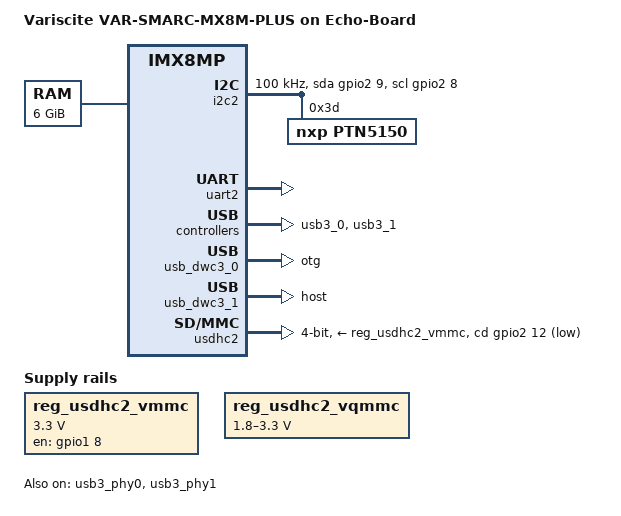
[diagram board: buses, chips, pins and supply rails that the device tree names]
// SPDX-License-Identifier: (GPL-2.0+ OR MIT)
/*
 * Copyright 2019 NXP
 * Copyright 2026 Variscite Ltd.
 */

#include "imx8mp-var-smarc.dtsi"

/ {
	model = "Variscite VAR-SMARC-MX8M-PLUS on Echo-Board";

	chosen {
		stdout-path = &uart2;
	};

	memory@40000000 {
		device_type = "memory";
		reg = <0x0 0x40000000 0 0xc0000000>,
		      <0x1 0x00000000 0 0xc0000000>;
	};

	reg_usdhc2_vmmc: regulator-usdhc2-vmmc {
		compatible = "regulator-fixed";
		pinctrl-names = "default";
		pinctrl-0 = <&pinctrl_reg_usdhc2_vmmc>;
		regulator-name = "VSD_3V3";
		regulator-min-microvolt = <3300000>;
		regulator-max-microvolt = <3300000>;
		gpio = <&gpio1 8 GPIO_ACTIVE_HIGH>;
		enable-active-high;
		startup-delay-us = <100>;
		off-on-delay-us = <12000>;
	};

	reg_usdhc2_vqmmc: regulator-usdhc2-vqmmc {
		compatible = "regulator-gpio";
		pinctrl-names = "default";
		pinctrl-0 = <&pinctrl_reg_usdhc2_vqmmc>;
		regulator-name = "VSD_VSEL";
		regulator-min-microvolt = <1800000>;
		regulator-max-microvolt = <3300000>;
		gpios = <&gpio1 4 GPIO_ACTIVE_HIGH>;
		states = <3300000 0
			  1800000 1>;
	};
};

&i2c2 {
	clock-frequency = <100000>;
	pinctrl-names = "default", "gpio";
	pinctrl-0 = <&pinctrl_i2c2>;
	pinctrl-1 = <&pinctrl_i2c2_gpio>;
	scl-gpios = <&gpio2 8 GPIO_ACTIVE_HIGH>;
	sda-gpios = <&gpio2 9 GPIO_ACTIVE_HIGH>;
	status = "okay";

	/* USB Type-C Controller */
	ptn5150: ptn5150@3d {
		compatible = "nxp,ptn5150";
		pinctrl-names = "default";
		reg = <0x3d>;
		i2c-bus = <0x1>;
		status = "okay";
	};
};

&iomuxc {

	pinctrl_i2c2: i2c2grp {
		fsl,pins = <
			MX8MP_IOMUXC_SD1_DATA6__I2C2_SCL				0x400001c2
			MX8MP_IOMUXC_SD1_DATA7__I2C2_SDA				0x400001c2
		>;
	};

	pinctrl_i2c2_gpio: i2c2gpiogrp {
		fsl,pins = <
			MX8MP_IOMUXC_SD1_DATA6__GPIO2_IO08				0x1c2
			MX8MP_IOMUXC_SD1_DATA7__GPIO2_IO09 				0x1c2
		>;
	};

	pinctrl_reg_usdhc2_vmmc: usdhc2-vmmcreggrp {
		fsl,pins = <
			MX8MP_IOMUXC_GPIO1_IO08__GPIO1_IO08				0x10
		>;
	};

	pinctrl_reg_usdhc2_vqmmc: usdhc2-vqmmcreggrp {
		fsl,pins = <
			MX8MP_IOMUXC_GPIO1_IO04__GPIO1_IO04				0xc0
		>;
	};

	pinctrl_uart2: uart2grp {
		fsl,pins = <
			MX8MP_IOMUXC_UART2_RXD__UART2_DCE_RX				0x40
			MX8MP_IOMUXC_UART2_TXD__UART2_DCE_TX				0x40
		>;
	};

	pinctrl_usdhc2: usdhc2grp {
		fsl,pins = <
			MX8MP_IOMUXC_SD2_CLK__USDHC2_CLK				0x190
			MX8MP_IOMUXC_SD2_CMD__USDHC2_CMD				0x1d0
			MX8MP_IOMUXC_SD2_DATA0__USDHC2_DATA0				0x1d0
			MX8MP_IOMUXC_SD2_DATA1__USDHC2_DATA1				0x1d0
			MX8MP_IOMUXC_SD2_DATA2__USDHC2_DATA2				0x1d0
			MX8MP_IOMUXC_SD2_DATA3__USDHC2_DATA3				0x1d0
		>;
	};

	pinctrl_usdhc2_100mhz: usdhc2-100mhzgrp {
		fsl,pins = <
			MX8MP_IOMUXC_SD2_CLK__USDHC2_CLK				0x194
			MX8MP_IOMUXC_SD2_CMD__USDHC2_CMD				0x1d4
			MX8MP_IOMUXC_SD2_DATA0__USDHC2_DATA0				0x1d4
			MX8MP_IOMUXC_SD2_DATA1__USDHC2_DATA1				0x1d4
			MX8MP_IOMUXC_SD2_DATA2__USDHC2_DATA2				0x1d4
			MX8MP_IOMUXC_SD2_DATA3__USDHC2_DATA3				0x1d4
		>;
	};

	pinctrl_usdhc2_200mhz: usdhc2-200mhzgrp {
		fsl,pins = <
			MX8MP_IOMUXC_SD2_CLK__USDHC2_CLK				0x196
			MX8MP_IOMUXC_SD2_CMD__USDHC2_CMD				0x1d6
			MX8MP_IOMUXC_SD2_DATA0__USDHC2_DATA0				0x1d6
			MX8MP_IOMUXC_SD2_DATA1__USDHC2_DATA1				0x1d6
			MX8MP_IOMUXC_SD2_DATA2__USDHC2_DATA2				0x1d6
			MX8MP_IOMUXC_SD2_DATA3__USDHC2_DATA3				0x1d6
		>;
	};

	pinctrl_usdhc2_gpio: usdhc2-gpiogrp {
		fsl,pins = <
			MX8MP_IOMUXC_GPIO1_IO14__GPIO1_IO14				0x1c4
		>;
	};
};

&uart2 {
	pinctrl-names = "default";
	pinctrl-0 = <&pinctrl_uart2>;
	status = "okay";
};

&usb3_phy0 {
	fsl,phy-tx-vref-tune = <0xe>;
	fsl,phy-tx-preemp-amp-tune = <3>;
	fsl,phy-tx-vboost-level = <5>;
	fsl,phy-comp-dis-tune = <7>;
	fsl,pcs-tx-deemph-3p5db = <0x21>;
	fsl,phy-pcs-tx-swing-full = <0x7f>;
	status = "okay";
};

&usb3_0 {
	status = "okay";
};

&usb_dwc3_0 {
	dr_mode = "otg";
	extcon = <&ptn5150>;
	hnp-disable;
	srp-disable;
	adp-disable;
	usb-role-switch;
	role-switch-default-mode = "none";
	status = "okay";
};

&usb3_phy1 {
	fsl,phy-tx-preemp-amp-tune = <3>;
	fsl,phy-tx-vref-tune = <0xb>;
	status = "okay";
};

&usb3_1 {
	status = "okay";
};

&usb_dwc3_1 {
	dr_mode = "host";
	status = "okay";
};

&usdhc2 {
	pinctrl-names = "default", "state_100mhz", "state_200mhz";
	pinctrl-0 = <&pinctrl_usdhc2>, <&pinctrl_usdhc2_gpio>;
	pinctrl-1 = <&pinctrl_usdhc2_100mhz>, <&pinctrl_usdhc2_gpio>;
	pinctrl-2 = <&pinctrl_usdhc2_200mhz>, <&pinctrl_usdhc2_gpio>;
	cd-gpios = <&gpio2 12 GPIO_ACTIVE_LOW>;
	vmmc-supply = <&reg_usdhc2_vmmc>;
	vqmmc-supply = <&reg_usdhc2_vqmmc>;
	bus-width = <4>;
	no-1-8-v;
	status = "okay";
};
